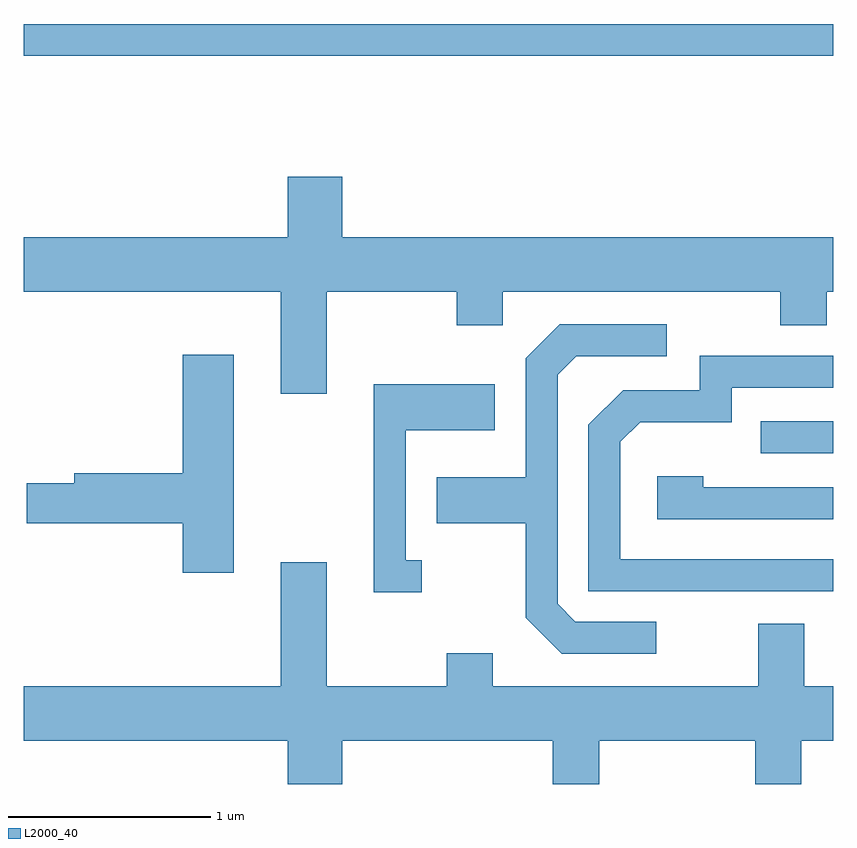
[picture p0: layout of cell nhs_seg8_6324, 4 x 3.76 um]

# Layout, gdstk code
import gdstk
lib = gdstk.Library(unit=1e-6, precision=1e-09)
def R(c, l, rs):  # rectangles x0, y0, x1, y1
    for r in rs: c.add(gdstk.rectangle(r[:2], r[2:], *l))
def P(c, l, *ps):  # polygons
    for p in ps: c.add(gdstk.Polygon(p, *l))
L2000_40 = (2000, 40)

nhs_seg8_6324 = lib.new_cell('nhs_seg8_6324')
R(nhs_seg8_6324, L2000_40, [(377.253,1919.976,377.611,1920.134), (373.611,1921.941,377.611,1922.099)])
P(nhs_seg8_6324, L2000_40, [(375.109,1920.776),(375.751,1920.776),(375.751,1920.611),(375.979,1920.611),(375.979,1920.776),(377.351,1920.776),(377.351,1920.611),(377.579,1920.611),(377.579,1920.776),(377.611,1920.776),(377.611,1921.044),(375.184,1921.044),(375.184,1921.344),(374.916,1921.344),(374.916,1921.044),(373.611,1921.044),(373.611,1920.776),(374.881,1920.776),(374.881,1920.271),(375.109,1920.271)],
  [(376.738,1919.144),(376.337,1919.144),(376.249,1919.232),(376.249,1920.364),(376.342,1920.456),(376.788,1920.456),(376.788,1920.614),(376.259,1920.614),(376.091,1920.447),(376.091,1919.859),(375.651,1919.859),(375.651,1919.631),(376.091,1919.631),(376.091,1919.164),(376.269,1918.986),(376.738,1918.986)],
  [(374.649,1920.464),(374.396,1920.464),(374.396,1919.879),(373.861,1919.879),(373.861,1919.829),(373.626,1919.829),(373.626,1919.631),(374.396,1919.631),(374.396,1919.386),(374.649,1919.386)],
  [(377.611,1919.454),(376.559,1919.454),(376.559,1920.034),(376.657,1920.131),(377.109,1920.131),(377.109,1920.301),(377.611,1920.301),(377.611,1920.459),(376.951,1920.459),(376.951,1920.289),(376.574,1920.289),(376.401,1920.117),(376.401,1919.296),(377.611,1919.296)],
  [(375.578,1919.449),(375.499,1919.449),(375.499,1920.091),(375.939,1920.091),(375.939,1920.319),(375.341,1920.319),(375.341,1919.291),(375.578,1919.291)],
  [(377.611,1919.809),(376.969,1919.809),(376.969,1919.864),(376.741,1919.864),(376.741,1919.651),(377.611,1919.651)],
  [(375.184,1918.556),(376.226,1918.556),(376.226,1918.342),(376.454,1918.342),(376.454,1918.556),(377.226,1918.556),(377.226,1918.342),(377.454,1918.342),(377.454,1918.556),(377.611,1918.556),(377.611,1918.824),(377.469,1918.824),(377.469,1919.134),(377.241,1919.134),(377.241,1918.824),(375.929,1918.824),(375.929,1918.989),(375.701,1918.989),(375.701,1918.824),(375.109,1918.824),(375.109,1919.439),(374.881,1919.439),(374.881,1918.824),(373.611,1918.824),(373.611,1918.556),(374.916,1918.556),(374.916,1918.342),(375.184,1918.342)])

lib.write_gds('nhs_seg8_6324.gds')
